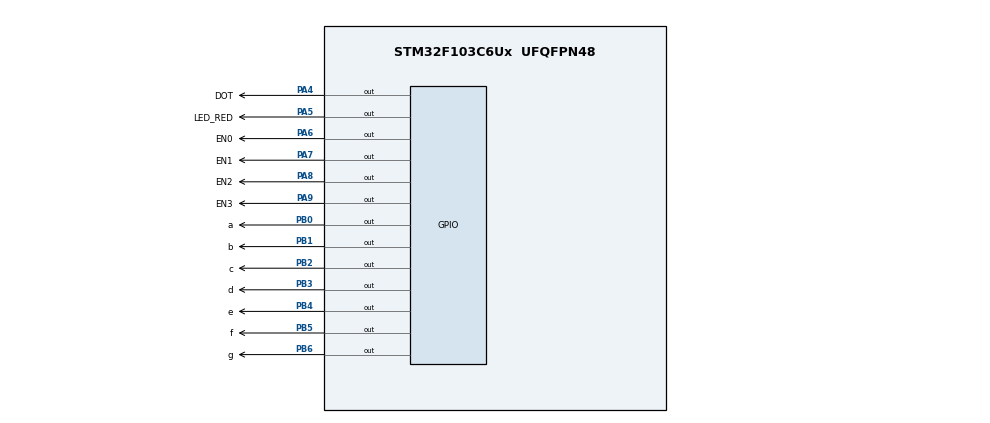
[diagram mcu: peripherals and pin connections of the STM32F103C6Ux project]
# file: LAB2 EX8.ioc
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Mcu.Family=STM32F1
Mcu.Name=STM32F103C6Ux
Mcu.Package=UFQFPN48
NVIC.PriorityGroup=NVIC_PRIORITYGROUP_4
NVIC.TIM2_IRQn=true\:0\:0\:false\:false\:true\:true\:true
PA4.GPIO_Label=DOT
PA4.Signal=GPIO_Output
PA5.GPIO_Label=LED_RED
PA5.Signal=GPIO_Output
PA6.GPIO_Label=EN0
PA6.Signal=GPIO_Output
PA7.GPIO_Label=EN1
PA7.Signal=GPIO_Output
PA8.GPIO_Label=EN2
PA8.Signal=GPIO_Output
PA9.GPIO_Label=EN3
PA9.Signal=GPIO_Output
PB0.GPIO_Label=a
PB0.Signal=GPIO_Output
PB1.GPIO_Label=b
PB1.Signal=GPIO_Output
PB2.GPIO_Label=c
PB2.Signal=GPIO_Output
PB3.GPIO_Label=d
PB3.Signal=GPIO_Output
PB4.GPIO_Label=e
PB4.Signal=GPIO_Output
PB5.GPIO_Label=f
PB5.Signal=GPIO_Output
PB6.GPIO_Label=g
PB6.Signal=GPIO_Output
ProjectManager.HeapSize=0x200
ProjectManager.StackSize=0x400
ProjectManager.TargetToolchain=STM32CubeIDE
RCC.APB1Freq_Value=8000000
RCC.APB2Freq_Value=8000000
TIM2.Period=9
TIM2.Prescaler=7999
VP_SYS_VS_ND.Mode=No_Debug
VP_TIM2_VS_ClockSourceINT.Mode=Internal
board=custom

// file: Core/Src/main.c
/* USER CODE BEGIN Header */
/**
  ******************************************************************************
  * @file           : main.c
  * @brief          : Main program body
  ******************************************************************************
  * @attention
  *
  * <h2><center>&copy; Copyright (c) 2022 STMicroelectronics.
  * All rights reserved.</center></h2>
  *
  * This software component is licensed by ST under BSD 3-Clause license,
  * the "License"; You may not use this file except in compliance with the
  * License. You may obtain a copy of the License at:
  *                        opensource.org/licenses/BSD-3-Clause
  *
  ******************************************************************************
  */
/* USER CODE END Header */
#include "main.h"

TIM_HandleTypeDef htim2;

void SystemClock_Config(void);
static void MX_GPIO_Init(void);
static void MX_TIM2_Init(void);

/* USER CODE BEGIN 0 */
int timer0_counter = 0;
int timer0_flag = 0;
int TIMER_CYCLE = 10;
void setTimer0(int duration){
	timer0_counter = duration/ TIMER_CYCLE;
	timer0_flag = 0;
}
void timer_run(){
	if(timer0_counter > 0){
		timer0_counter--;
	if(timer0_counter == 0)
		timer0_flag = 1;
	}
}
void LED_7SEG(int status){

	if(status == 0){
		HAL_GPIO_WritePin(a_GPIO_Port, a_Pin, RESET);
		HAL_GPIO_WritePin(b_GPIO_Port, b_Pin, RESET);
		HAL_GPIO_WritePin(c_GPIO_Port, c_Pin, RESET);
		HAL_GPIO_WritePin(d_GPIO_Port, d_Pin, RESET);
		HAL_GPIO_WritePin(e_GPIO_Port, e_Pin, RESET);
		HAL_GPIO_WritePin(f_GPIO_Port, f_Pin, RESET);
		HAL_GPIO_WritePin(g_GPIO_Port, g_Pin, SET);
	}
	if(status == 1){
		HAL_GPIO_WritePin(a_GPIO_Port, a_Pin, SET);
		HAL_GPIO_WritePin(b_GPIO_Port, b_Pin, RESET);
		HAL_GPIO_WritePin(c_GPIO_Port, c_Pin, RESET);
		HAL_GPIO_WritePin(d_GPIO_Port, d_Pin, SET);
		HAL_GPIO_WritePin(e_GPIO_Port, e_Pin, SET);
		HAL_GPIO_WritePin(f_GPIO_Port, f_Pin, SET);
		HAL_GPIO_WritePin(g_GPIO_Port, g_Pin, SET);
	}
	if(status == 2){
		HAL_GPIO_WritePin(a_GPIO_Port, a_Pin, RESET);
		HAL_GPIO_WritePin(b_GPIO_Port, b_Pin, RESET);
		HAL_GPIO_WritePin(c_GPIO_Port, c_Pin, SET);
		HAL_GPIO_WritePin(d_GPIO_Port, d_Pin, RESET);
		HAL_GPIO_WritePin(e_GPIO_Port, e_Pin, RESET);
		HAL_GPIO_WritePin(f_GPIO_Port, f_Pin, SET);
		HAL_GPIO_WritePin(g_GPIO_Port, g_Pin, RESET);
	}
	if(status == 3){
		HAL_GPIO_WritePin(a_GPIO_Port, a_Pin, RESET);
		HAL_GPIO_WritePin(b_GPIO_Port, b_Pin, RESET);
		HAL_GPIO_WritePin(c_GPIO_Port, c_Pin, RESET);
		HAL_GPIO_WritePin(d_GPIO_Port, d_Pin, RESET);
		HAL_GPIO_WritePin(e_GPIO_Port, e_Pin, SET);
		HAL_GPIO_WritePin(f_GPIO_Port, f_Pin, SET);
		HAL_GPIO_WritePin(g_GPIO_Port, g_Pin, RESET);
	}
	if(status == 4){
		HAL_GPIO_WritePin(a_GPIO_Port, a_Pin, SET);
		HAL_GPIO_WritePin(b_GPIO_Port, b_Pin, RESET);
		HAL_GPIO_WritePin(c_GPIO_Port, c_Pin, RESET);
		HAL_GPIO_WritePin(d_GPIO_Port, d_Pin, SET);
		HAL_GPIO_WritePin(e_GPIO_Port, e_Pin, SET);
		HAL_GPIO_WritePin(f_GPIO_Port, f_Pin, RESET);
		HAL_GPIO_WritePin(g_GPIO_Port, g_Pin, RESET);
	}
	if(status == 5){
		HAL_GPIO_WritePin(a_GPIO_Port, a_Pin, RESET);
		HAL_GPIO_WritePin(b_GPIO_Port, b_Pin, SET);
		HAL_GPIO_WritePin(c_GPIO_Port, c_Pin, RESET);
		HAL_GPIO_WritePin(d_GPIO_Port, d_Pin, RESET);
		HAL_GPIO_WritePin(e_GPIO_Port, e_Pin, SET);
		HAL_GPIO_WritePin(f_GPIO_Port, f_Pin, RESET);
		HAL_GPIO_WritePin(g_GPIO_Port, g_Pin, RESET);
	}
	if(status == 6){
		HAL_GPIO_WritePin(a_GPIO_Port, a_Pin, RESET);
		HAL_GPIO_WritePin(b_GPIO_Port, b_Pin, SET);
		HAL_GPIO_WritePin(c_GPIO_Port, c_Pin, RESET);
		HAL_GPIO_WritePin(d_GPIO_Port, d_Pin, RESET);
		HAL_GPIO_WritePin(e_GPIO_Port, e_Pin, RESET);
		HAL_GPIO_WritePin(f_GPIO_Port, f_Pin, RESET);
		HAL_GPIO_WritePin(g_GPIO_Port, g_Pin, RESET);
	}
	if(status == 7){
		HAL_GPIO_WritePin(a_GPIO_Port, a_Pin, RESET);
		HAL_GPIO_WritePin(b_GPIO_Port, b_Pin, RESET);
		HAL_GPIO_WritePin(c_GPIO_Port, c_Pin, RESET);
		HAL_GPIO_WritePin(d_GPIO_Port, d_Pin, SET);
		HAL_GPIO_WritePin(e_GPIO_Port, e_Pin, SET);
		HAL_GPIO_WritePin(f_GPIO_Port, f_Pin, SET);
		HAL_GPIO_WritePin(g_GPIO_Port, g_Pin, SET);
	}
	if(status == 8){
		HAL_GPIO_WritePin(a_GPIO_Port, a_Pin, RESET);
		HAL_GPIO_WritePin(b_GPIO_Port, b_Pin, RESET);
		HAL_GPIO_WritePin(c_GPIO_Port, c_Pin, RESET);
		HAL_GPIO_WritePin(d_GPIO_Port, d_Pin, RESET);
		HAL_GPIO_WritePin(e_GPIO_Port, e_Pin, RESET);
		HAL_GPIO_WritePin(f_GPIO_Port, f_Pin, RESET);
		HAL_GPIO_WritePin(g_GPIO_Port, g_Pin, RESET);
	}
	if(status == 9){
		HAL_GPIO_WritePin(a_GPIO_Port, a_Pin, RESET);
		HAL_GPIO_WritePin(b_GPIO_Port, b_Pin, RESET);
		HAL_GPIO_WritePin(c_GPIO_Port, c_Pin, RESET);
		HAL_GPIO_WritePin(d_GPIO_Port, d_Pin, RESET);
		HAL_GPIO_WritePin(e_GPIO_Port, e_Pin, SET);
		HAL_GPIO_WritePin(f_GPIO_Port, f_Pin, RESET);
		HAL_GPIO_WritePin(g_GPIO_Port, g_Pin, RESET);
	}

}
int hour = 15 , minute = 8 , second = 50;
int counter = 0;

void updateClockBuffer(){
	  int led_hour,led_min;
	  led_hour = hour - hour%10;
	  led_min = minute - minute%10;
	  if(counter == 0){
			HAL_GPIO_WritePin(EN0_GPIO_Port, EN0_Pin, RESET);
			HAL_GPIO_WritePin(EN1_GPIO_Port, EN1_Pin, SET);
			HAL_GPIO_WritePin(EN2_GPIO_Port, EN2_Pin, SET);
			HAL_GPIO_WritePin(EN3_GPIO_Port, EN3_Pin, SET);
			LED_7SEG(led_hour/10);
			counter = 1;
	  }
	  else if(counter == 1){
			HAL_GPIO_WritePin(EN0_GPIO_Port, EN0_Pin, SET);
			HAL_GPIO_WritePin(EN1_GPIO_Port, EN1_Pin, RESET);
			HAL_GPIO_WritePin(EN2_GPIO_Port, EN2_Pin, SET);
			HAL_GPIO_WritePin(EN3_GPIO_Port, EN3_Pin, SET);
			LED_7SEG(hour%10);
			counter = 2;
	  }
	  else if(counter == 2){
			HAL_GPIO_WritePin(EN0_GPIO_Port, EN0_Pin, SET);
			HAL_GPIO_WritePin(EN1_GPIO_Port, EN1_Pin, SET);
			HAL_GPIO_WritePin(EN2_GPIO_Port, EN2_Pin, RESET);
			HAL_GPIO_WritePin(EN3_GPIO_Port, EN3_Pin, SET);
			LED_7SEG(led_min/10);
			counter = 3;
	  }
	  else {
			HAL_GPIO_WritePin(EN0_GPIO_Port, EN0_Pin, SET);
			HAL_GPIO_WritePin(EN1_GPIO_Port, EN1_Pin, SET);
			HAL_GPIO_WritePin(EN2_GPIO_Port, EN2_Pin, SET);
			HAL_GPIO_WritePin(EN3_GPIO_Port, EN3_Pin, RESET);
			LED_7SEG(minute%10);
			counter = 0;
	  }

}
/* USER CODE END 0 */

int main(void)
{

  /* MCU Configuration--------------------------------------------------------*/

  /* Reset of all peripherals, Initializes the Flash interface and the Systick. */
  HAL_Init();

  /* Configure the system clock */
  SystemClock_Config();

  /* Initialize all configured peripherals */
  MX_GPIO_Init();
  MX_TIM2_Init();
  /* USER CODE BEGIN 2 */
HAL_TIM_Base_Start_IT(&htim2);
  /* USER CODE END 2 */

  /* Infinite loop */
  /* USER CODE BEGIN WHILE */

			HAL_GPIO_WritePin(EN0_GPIO_Port, EN0_Pin, SET);
			HAL_GPIO_WritePin(EN1_GPIO_Port, EN1_Pin, SET);
			HAL_GPIO_WritePin(EN2_GPIO_Port, EN2_Pin, SET);
			HAL_GPIO_WritePin(EN3_GPIO_Port, EN3_Pin, SET);
			setTimer0(1000);
			HAL_GPIO_WritePin(DOT_GPIO_Port, DOT_Pin,RESET);
  while (1)
  {
    /* USER CODE END WHILE */
	  if(timer0_flag == 1){
		  updateClockBuffer();
		  second++;
		  if(second>=60){
			  second = 0;
			  minute++;
			  if(minute>=60){
			  minute = 0;
			  hour++;
				  if(hour >= 24) hour = 0;
			  }
		  }

		HAL_GPIO_TogglePin(LED_RED_GPIO_Port, LED_RED_Pin);
		setTimer0(1000);
	  }
  }
}

void SystemClock_Config(void)
{
  RCC_OscInitTypeDef RCC_OscInitStruct = {0};
  RCC_ClkInitTypeDef RCC_ClkInitStruct = {0};

  /** Initializes the RCC Oscillators according to the specified parameters
  * in the RCC_OscInitTypeDef structure.
  */
  RCC_OscInitStruct.OscillatorType = RCC_OSCILLATORTYPE_HSI;
  RCC_OscInitStruct.HSIState = RCC_HSI_ON;
  RCC_OscInitStruct.HSICalibrationValue = RCC_HSICALIBRATION_DEFAULT;
  RCC_OscInitStruct.PLL.PLLState = RCC_PLL_NONE;
  if (HAL_RCC_OscConfig(&RCC_OscInitStruct) != HAL_OK)
  {
    Error_Handler();
  }
  /** Initializes the CPU, AHB and APB buses clocks
  */
  RCC_ClkInitStruct.ClockType = RCC_CLOCKTYPE_HCLK|RCC_CLOCKTYPE_SYSCLK
                              |RCC_CLOCKTYPE_PCLK1|RCC_CLOCKTYPE_PCLK2;
  RCC_ClkInitStruct.SYSCLKSource = RCC_SYSCLKSOURCE_HSI;
  RCC_ClkInitStruct.AHBCLKDivider = RCC_SYSCLK_DIV1;
  RCC_ClkInitStruct.APB1CLKDivider = RCC_HCLK_DIV1;
  RCC_ClkInitStruct.APB2CLKDivider = RCC_HCLK_DIV1;

  if (HAL_RCC_ClockConfig(&RCC_ClkInitStruct, FLASH_LATENCY_0) != HAL_OK)
  {
    Error_Handler();
  }
}

static void MX_TIM2_Init(void)
{

  TIM_ClockConfigTypeDef sClockSourceConfig = {0};
  TIM_MasterConfigTypeDef sMasterConfig = {0};

  htim2.Instance = TIM2;
  htim2.Init.Prescaler = 7999;
  htim2.Init.CounterMode = TIM_COUNTERMODE_UP;
  htim2.Init.Period = 9;
  htim2.Init.ClockDivision = TIM_CLOCKDIVISION_DIV1;
  htim2.Init.AutoReloadPreload = TIM_AUTORELOAD_PRELOAD_DISABLE;
  if (HAL_TIM_Base_Init(&htim2) != HAL_OK)
  {
    Error_Handler();
  }
  sClockSourceConfig.ClockSource = TIM_CLOCKSOURCE_INTERNAL;
  if (HAL_TIM_ConfigClockSource(&htim2, &sClockSourceConfig) != HAL_OK)
  {
    Error_Handler();
  }
  sMasterConfig.MasterOutputTrigger = TIM_TRGO_RESET;
  sMasterConfig.MasterSlaveMode = TIM_MASTERSLAVEMODE_DISABLE;
  if (HAL_TIMEx_MasterConfigSynchronization(&htim2, &sMasterConfig) != HAL_OK)
  {
    Error_Handler();
  }

}

static void MX_GPIO_Init(void)
{
  GPIO_InitTypeDef GPIO_InitStruct = {0};

  /* GPIO Ports Clock Enable */
  __HAL_RCC_GPIOA_CLK_ENABLE();
  __HAL_RCC_GPIOB_CLK_ENABLE();

  /*Configure GPIO pin Output Level */
  HAL_GPIO_WritePin(GPIOA, DOT_Pin|LED_RED_Pin|EN0_Pin|EN1_Pin
                          |EN2_Pin|EN3_Pin, GPIO_PIN_RESET);

  /*Configure GPIO pin Output Level */
  HAL_GPIO_WritePin(GPIOB, a_Pin|b_Pin|c_Pin|d_Pin
                          |e_Pin|f_Pin|g_Pin, GPIO_PIN_RESET);

  /*Configure GPIO pins : DOT_Pin LED_RED_Pin EN0_Pin EN1_Pin
                           EN2_Pin EN3_Pin */
  GPIO_InitStruct.Pin = DOT_Pin|LED_RED_Pin|EN0_Pin|EN1_Pin
                          |EN2_Pin|EN3_Pin;
  GPIO_InitStruct.Mode = GPIO_MODE_OUTPUT_PP;
  GPIO_InitStruct.Pull = GPIO_NOPULL;
  GPIO_InitStruct.Speed = GPIO_SPEED_FREQ_LOW;
  HAL_GPIO_Init(GPIOA, &GPIO_InitStruct);

  /*Configure GPIO pins : a_Pin b_Pin c_Pin d_Pin
                           e_Pin f_Pin g_Pin */
  GPIO_InitStruct.Pin = a_Pin|b_Pin|c_Pin|d_Pin
                          |e_Pin|f_Pin|g_Pin;
  GPIO_InitStruct.Mode = GPIO_MODE_OUTPUT_PP;
  GPIO_InitStruct.Pull = GPIO_NOPULL;
  GPIO_InitStruct.Speed = GPIO_SPEED_FREQ_LOW;
  HAL_GPIO_Init(GPIOB, &GPIO_InitStruct);

}

/* USER CODE BEGIN 4 */
void HAL_TIM_PeriodElapsedCallback(TIM_HandleTypeDef *htim){
timer_run();
}
/* USER CODE END 4 */

void Error_Handler(void)
{
  __disable_irq();
  while (1)
  {
  }
}

/************************ (C) COPYRIGHT STMicroelectronics *****END OF FILE****/
